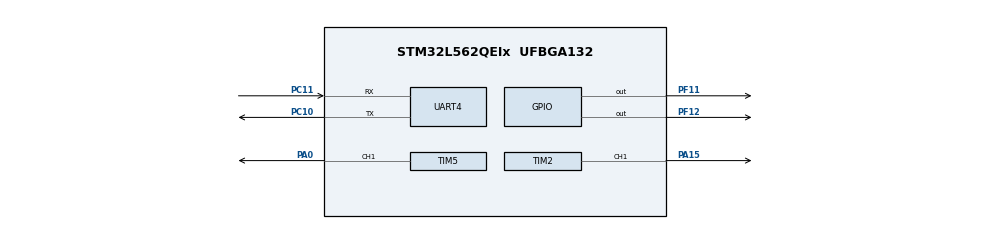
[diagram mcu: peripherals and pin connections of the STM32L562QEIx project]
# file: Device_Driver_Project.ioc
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Mcu.Family=STM32L5
Mcu.Name=STM32L562QEIx
Mcu.Package=UFBGA132
NVIC.PriorityGroup=NVIC_PRIORITYGROUP_3
NVIC.UART4_IRQn=true\:0\:0\:false\:false\:true\:true\:true\:true
PA0.Signal=S_TIM5_CH1
PA15\ (JTDI).Signal=S_TIM2_CH1
PC10.Mode=Asynchronous
PC10.Signal=UART4_TX
PC11.Mode=Asynchronous
PC11.Signal=UART4_RX
PF11.PinState=GPIO_PIN_SET
PF11.Signal=GPIO_Output
PF12.PinState=GPIO_PIN_SET
PF12.Signal=GPIO_Output
ProjectManager.HeapSize=0x200
ProjectManager.StackSize=0x400
ProjectManager.TargetToolchain=STM32CubeIDE
RCC.HSE_VALUE=16000000
RCC.HSI48_VALUE=48000000
RCC.HSI_VALUE=16000000
RCC.LSE_VALUE=32768
RCC.MSI_VALUE=4000000
RCC.VCOOutputFreq_Value=32000000
SH.S_TIM2_CH1.0=TIM2_CH1,Output Compare1 CH1
SH.S_TIM5_CH1.0=TIM5_CH1,PWM Generation1 CH1
TIM2.Channel-Output\ Compare1\ CH1=TIM_CHANNEL_1
TIM2.OC1Preload=ENABLE
TIM2.OCMode_1=TIM_OCMODE_TOGGLE
TIM2.Period=10000-1
TIM2.Prescaler=4000-1
TIM2.Pulse-Output\ Compare1\ CH1=3000
TIM2.TIM_MasterOutputTrigger=TIM_TRGO_OC1REF
TIM2.TIM_MasterSlaveMode=TIM_MASTERSLAVEMODE_ENABLE
TIM5.AutoReloadPreload=TIM_AUTORELOAD_PRELOAD_ENABLE
TIM5.Channel-PWM\ Generation1\ CH1=TIM_CHANNEL_1
TIM5.OCPolarity_1=TIM_OCPOLARITY_LOW
TIM5.Period=1000-1
TIM5.Prescaler=4000-1
TIM5.Pulse-PWM\ Generation1\ CH1=500
TIM5.TIM_MasterOutputTrigger=TIM_TRGO_RESET
VP_PWR_VS_DBSignals.Mode=DisableDeadBatterySignals
VP_PWR_VS_SECSignals.Mode=Security/Privilege
VP_TIM2_VS_ClockSourceINT.Mode=Internal
VP_TIM5_VS_ClockSourceITR.Mode=TriggerSource_ITR0
VP_TIM5_VS_ControllerModeTrigger.Mode=Trigger Mode
VP_TIM5_VS_OPM.Mode=OPM_bit
board=custom

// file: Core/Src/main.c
/* USER CODE BEGIN Header */
/**
  ******************************************************************************
  * @file           : main.c
  * @brief          : Main program body
  ******************************************************************************
  * @attention
  *
  * Copyright (c) 2025 STMicroelectronics.
  * All rights reserved.
  *
  * This software is licensed under terms that can be found in the LICENSE file
  * in the root directory of this software component.
  * If no LICENSE file comes with this software, it is provided AS-IS.
  *
  ******************************************************************************
  */
/* USER CODE END Header */
#include "main.h"

/* USER CODE BEGIN Includes */
#include <stdint.h>
#include <string.h>
#include <stdbool.h>
#include <stdlib.h>
#include <stdio.h>
/* USER CODE END Includes */

TIM_HandleTypeDef htim2;
TIM_HandleTypeDef htim5;

UART_HandleTypeDef huart4;

/* USER CODE BEGIN PV */
static volatile bool response_received = false;
/* USER CODE END PV */

void SystemClock_Config(void);
static void MX_GPIO_Init(void);
static void MX_UART4_Init(void);
static void MX_TIM5_Init(void);
static void MX_TIM2_Init(void);

int main(void)
{

  /* MCU Configuration--------------------------------------------------------*/

  /* Reset of all peripherals, Initializes the Flash interface and the Systick. */
  HAL_Init();

  /* Configure the system clock */
  SystemClock_Config();

  /* Initialize all configured peripherals */
  MX_GPIO_Init();
  MX_UART4_Init();
  MX_TIM5_Init();
  MX_TIM2_Init();
  /* USER CODE BEGIN 2 */
  char user_prompt[100];
  sprintf(user_prompt, "\r\nEnter desired duty cycle (0 to 100): ");
  char user_response[4] = {0};
  HAL_TIM_PWM_Start(&htim5, TIM_CHANNEL_1);        // Start TIM5 PWM output
  HAL_TIM_Base_Start(&htim2);                      // Start TIM1 (master base timer)
  /* USER CODE END 2 */

  /* Infinite loop */
  /* USER CODE BEGIN WHILE */
  while (1)
  {
	  int response_len = 0;
	  HAL_UART_Transmit(&huart4, (uint8_t*)user_prompt, strlen(user_prompt), HAL_MAX_DELAY);
	  while(response_len <= 3) {
		  HAL_UART_Receive_IT(&huart4, (uint8_t*)&(user_response[response_len]), 1);
		  while(response_received == false) {};
		  HAL_UART_Transmit(&huart4, (uint8_t*)&(user_response[response_len]), 1, HAL_MAX_DELAY);
		  response_received = false;
		  if((user_response[response_len] == '\r') || ((user_response[response_len] == '\n'))) {
			  user_response[response_len] = 0;
			  break;
		  }
		  response_len++;
	  }

	  if(response_len > 0) {
		  int duty_cycle = atoi(user_response);
		  if((duty_cycle <= 100) && (duty_cycle > 0)) {
			  sprintf(user_prompt, "\r\nReceived duty cycle %d", duty_cycle);
			  HAL_UART_Transmit(&huart4, (uint8_t*)user_prompt, strlen(user_prompt), HAL_MAX_DELAY);
		  }
		  else {
			  sprintf(user_prompt, "\r\nReceived invalid duty cycle %d, try again!", duty_cycle);
			  HAL_UART_Transmit(&huart4, (uint8_t*)user_prompt, strlen(user_prompt), HAL_MAX_DELAY);
		  }
	  }
	  sprintf(user_prompt, "\r\nEnter desired duty cycle (0 to 100): ");
    /* USER CODE END WHILE */

  }
}

void SystemClock_Config(void)
{
  RCC_OscInitTypeDef RCC_OscInitStruct = {0};
  RCC_ClkInitTypeDef RCC_ClkInitStruct = {0};

  /** Configure the main internal regulator output voltage
  */
  if (HAL_PWREx_ControlVoltageScaling(PWR_REGULATOR_VOLTAGE_SCALE2) != HAL_OK)
  {
    Error_Handler();
  }

  /** Initializes the RCC Oscillators according to the specified parameters
  * in the RCC_OscInitTypeDef structure.
  */
  RCC_OscInitStruct.OscillatorType = RCC_OSCILLATORTYPE_MSI;
  RCC_OscInitStruct.MSIState = RCC_MSI_ON;
  RCC_OscInitStruct.MSICalibrationValue = RCC_MSICALIBRATION_DEFAULT;
  RCC_OscInitStruct.MSIClockRange = RCC_MSIRANGE_6;
  RCC_OscInitStruct.PLL.PLLState = RCC_PLL_NONE;
  if (HAL_RCC_OscConfig(&RCC_OscInitStruct) != HAL_OK)
  {
    Error_Handler();
  }

  /** Initializes the CPU, AHB and APB buses clocks
  */
  RCC_ClkInitStruct.ClockType = RCC_CLOCKTYPE_HCLK|RCC_CLOCKTYPE_SYSCLK
                              |RCC_CLOCKTYPE_PCLK1|RCC_CLOCKTYPE_PCLK2;
  RCC_ClkInitStruct.SYSCLKSource = RCC_SYSCLKSOURCE_MSI;
  RCC_ClkInitStruct.AHBCLKDivider = RCC_SYSCLK_DIV1;
  RCC_ClkInitStruct.APB1CLKDivider = RCC_HCLK_DIV1;
  RCC_ClkInitStruct.APB2CLKDivider = RCC_HCLK_DIV1;

  if (HAL_RCC_ClockConfig(&RCC_ClkInitStruct, FLASH_LATENCY_0) != HAL_OK)
  {
    Error_Handler();
  }
}

static void MX_TIM2_Init(void)
{

  TIM_ClockConfigTypeDef sClockSourceConfig = {0};
  TIM_MasterConfigTypeDef sMasterConfig = {0};
  TIM_OC_InitTypeDef sConfigOC = {0};

  htim2.Instance = TIM2;
  htim2.Init.Prescaler = 4000-1;
  htim2.Init.CounterMode = TIM_COUNTERMODE_UP;
  htim2.Init.Period = 10000-1;
  htim2.Init.ClockDivision = TIM_CLOCKDIVISION_DIV1;
  htim2.Init.AutoReloadPreload = TIM_AUTORELOAD_PRELOAD_DISABLE;
  if (HAL_TIM_Base_Init(&htim2) != HAL_OK)
  {
    Error_Handler();
  }
  sClockSourceConfig.ClockSource = TIM_CLOCKSOURCE_INTERNAL;
  if (HAL_TIM_ConfigClockSource(&htim2, &sClockSourceConfig) != HAL_OK)
  {
    Error_Handler();
  }
  if (HAL_TIM_OC_Init(&htim2) != HAL_OK)
  {
    Error_Handler();
  }
  sMasterConfig.MasterOutputTrigger = TIM_TRGO_OC1REF;
  sMasterConfig.MasterSlaveMode = TIM_MASTERSLAVEMODE_ENABLE;
  if (HAL_TIMEx_MasterConfigSynchronization(&htim2, &sMasterConfig) != HAL_OK)
  {
    Error_Handler();
  }
  sConfigOC.OCMode = TIM_OCMODE_TOGGLE;
  sConfigOC.Pulse = 3000;
  sConfigOC.OCPolarity = TIM_OCPOLARITY_HIGH;
  sConfigOC.OCFastMode = TIM_OCFAST_DISABLE;
  if (HAL_TIM_OC_ConfigChannel(&htim2, &sConfigOC, TIM_CHANNEL_1) != HAL_OK)
  {
    Error_Handler();
  }
  __HAL_TIM_ENABLE_OCxPRELOAD(&htim2, TIM_CHANNEL_1);
  HAL_TIM_MspPostInit(&htim2);

}

static void MX_TIM5_Init(void)
{

  TIM_SlaveConfigTypeDef sSlaveConfig = {0};
  TIM_MasterConfigTypeDef sMasterConfig = {0};
  TIM_OC_InitTypeDef sConfigOC = {0};

  htim5.Instance = TIM5;
  htim5.Init.Prescaler = 4000-1;
  htim5.Init.CounterMode = TIM_COUNTERMODE_UP;
  htim5.Init.Period = 1000-1;
  htim5.Init.ClockDivision = TIM_CLOCKDIVISION_DIV1;
  htim5.Init.AutoReloadPreload = TIM_AUTORELOAD_PRELOAD_ENABLE;
  if (HAL_TIM_Base_Init(&htim5) != HAL_OK)
  {
    Error_Handler();
  }
  if (HAL_TIM_PWM_Init(&htim5) != HAL_OK)
  {
    Error_Handler();
  }
  if (HAL_TIM_OnePulse_Init(&htim5, TIM_OPMODE_SINGLE) != HAL_OK)
  {
    Error_Handler();
  }
  sSlaveConfig.SlaveMode = TIM_SLAVEMODE_TRIGGER;
  sSlaveConfig.InputTrigger = TIM_TS_ITR0;
  if (HAL_TIM_SlaveConfigSynchro(&htim5, &sSlaveConfig) != HAL_OK)
  {
    Error_Handler();
  }
  sMasterConfig.MasterOutputTrigger = TIM_TRGO_RESET;
  sMasterConfig.MasterSlaveMode = TIM_MASTERSLAVEMODE_DISABLE;
  if (HAL_TIMEx_MasterConfigSynchronization(&htim5, &sMasterConfig) != HAL_OK)
  {
    Error_Handler();
  }
  sConfigOC.OCMode = TIM_OCMODE_PWM1;
  sConfigOC.Pulse = 500;
  sConfigOC.OCPolarity = TIM_OCPOLARITY_LOW;
  sConfigOC.OCFastMode = TIM_OCFAST_DISABLE;
  if (HAL_TIM_PWM_ConfigChannel(&htim5, &sConfigOC, TIM_CHANNEL_1) != HAL_OK)
  {
    Error_Handler();
  }
  HAL_TIM_MspPostInit(&htim5);

}

static void MX_UART4_Init(void)
{

  huart4.Instance = UART4;
  huart4.Init.BaudRate = 115200;
  huart4.Init.WordLength = UART_WORDLENGTH_8B;
  huart4.Init.StopBits = UART_STOPBITS_1;
  huart4.Init.Parity = UART_PARITY_NONE;
  huart4.Init.Mode = UART_MODE_TX_RX;
  huart4.Init.HwFlowCtl = UART_HWCONTROL_NONE;
  huart4.Init.OverSampling = UART_OVERSAMPLING_16;
  huart4.Init.OneBitSampling = UART_ONE_BIT_SAMPLE_DISABLE;
  huart4.Init.ClockPrescaler = UART_PRESCALER_DIV1;
  huart4.AdvancedInit.AdvFeatureInit = UART_ADVFEATURE_NO_INIT;
  if (HAL_UART_Init(&huart4) != HAL_OK)
  {
    Error_Handler();
  }
  if (HAL_UARTEx_SetTxFifoThreshold(&huart4, UART_TXFIFO_THRESHOLD_1_8) != HAL_OK)
  {
    Error_Handler();
  }
  if (HAL_UARTEx_SetRxFifoThreshold(&huart4, UART_RXFIFO_THRESHOLD_1_8) != HAL_OK)
  {
    Error_Handler();
  }
  if (HAL_UARTEx_DisableFifoMode(&huart4) != HAL_OK)
  {
    Error_Handler();
  }

}

static void MX_GPIO_Init(void)
{
  GPIO_InitTypeDef GPIO_InitStruct = {0};

  /* GPIO Ports Clock Enable */
  __HAL_RCC_GPIOC_CLK_ENABLE();
  __HAL_RCC_GPIOA_CLK_ENABLE();
  __HAL_RCC_GPIOF_CLK_ENABLE();

  /*Configure GPIO pin Output Level */
  HAL_GPIO_WritePin(GPIOF, GPIO_PIN_11|GPIO_PIN_12, GPIO_PIN_SET);

  /*Configure GPIO pins : PF11 PF12 */
  GPIO_InitStruct.Pin = GPIO_PIN_11|GPIO_PIN_12;
  GPIO_InitStruct.Mode = GPIO_MODE_OUTPUT_PP;
  GPIO_InitStruct.Pull = GPIO_NOPULL;
  GPIO_InitStruct.Speed = GPIO_SPEED_FREQ_LOW;
  HAL_GPIO_Init(GPIOF, &GPIO_InitStruct);

}

/* USER CODE BEGIN 4 */
void HAL_UART_RxCpltCallback(UART_HandleTypeDef *huart) {
	if((huart ->Instance) == huart4.Instance) {
		response_received = true;
	}
}
/* USER CODE END 4 */

void Error_Handler(void)
{
  __disable_irq();
  while (1)
  {
  }
}
